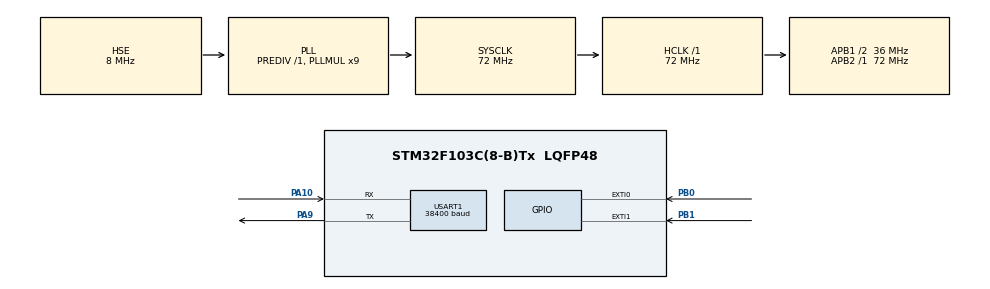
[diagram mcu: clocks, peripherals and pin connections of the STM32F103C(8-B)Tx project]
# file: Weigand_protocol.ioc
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Mcu.Family=STM32F1
Mcu.Name=STM32F103C(8-B)Tx
Mcu.Package=LQFP48
NVIC.PriorityGroup=NVIC_PRIORITYGROUP_4
PA10.Mode=Asynchronous
PA10.Signal=USART1_RX
PA9.Mode=Asynchronous
PA9.Signal=USART1_TX
PB0.Signal=GPXTI0
PB1.Signal=GPXTI1
PD0-OSC_IN.Mode=HSE-External-Oscillator
PD0-OSC_IN.Signal=RCC_OSC_IN
PD1-OSC_OUT.Mode=HSE-External-Oscillator
PD1-OSC_OUT.Signal=RCC_OSC_OUT
ProjectManager.HeapSize=0x200
ProjectManager.StackSize=0x400
ProjectManager.TargetToolchain=STM32CubeIDE
RCC.AHBFreq_Value=72000000
RCC.APB1CLKDivider=RCC_HCLK_DIV2
RCC.APB1Freq_Value=36000000
RCC.APB1TimFreq_Value=72000000
RCC.APB2Freq_Value=72000000
RCC.APB2TimFreq_Value=72000000
RCC.HCLKFreq_Value=72000000
RCC.PLLMUL=RCC_PLL_MUL9
RCC.PLLSourceVirtual=RCC_PLLSOURCE_HSE
RCC.SYSCLKFreq_VALUE=72000000
RCC.SYSCLKSource=RCC_SYSCLKSOURCE_PLLCLK
RCC.USBFreq_Value=72000000
USART1.BaudRate=38400
USART1.VirtualMode=VM_ASYNC
board=custom

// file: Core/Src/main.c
/* USER CODE BEGIN Header */
/**
  ******************************************************************************
  * @file           : main.c
  * @brief          : Main program body
  ******************************************************************************
  * @attention
  *
  * Copyright (c) 2023 STMicroelectronics.
  * All rights reserved.
  *
  * This software is licensed under terms that can be found in the LICENSE file
  * in the root directory of this software component.
  * If no LICENSE file comes with this software, it is provided AS-IS.
  *
  ******************************************************************************
  */
/* USER CODE END Header */
#include "main.h"

/* USER CODE BEGIN Includes */
#define DATA_BITS 26

volatile uint32_t weigandCode = 0;
volatile uint8_t bitCount = 0;

/* USER CODE END Includes */

UART_HandleTypeDef huart1;

void SystemClock_Config(void);
static void MX_GPIO_Init(void);
static void MX_USART1_UART_Init(void);
/* USER CODE BEGIN PFP */
void Mes2Usart1 (char *ptr);
void Mes2Usart1_crlf (char *ptr);
void crlf2usart1 (void);
void USART1_SendChar (char ch);
/* USER CODE END PFP */

/* USER CODE BEGIN 0 */
void Mes2Usart1 (char *ptr)
{
 while (*ptr)
 {
        USART1_SendChar (*ptr++);
  }
}

void Mes2Usart1_crlf (char *ptr)
{
  Mes2Usart1 (ptr);
  crlf2usart1 ();
}

void crlf2usart1 (void)
{
 Mes2Usart1 ("\r\n");
}
void USART1_SendChar (char ch)
{
//        while (transflg == 1) {}   // in case transmission is going on, wait till it gets over.
//        transflg = 1;
         USART1->DR = (uint16_t) (ch & 0x1ff);
        while (!(USART1->SR & UART_FLAG_TC));                // wait for character to be transmitted
//        transflg = 0;
}
/* USER CODE END 0 */

int main(void)
{

  /* MCU Configuration--------------------------------------------------------*/

  /* Reset of all peripherals, Initializes the Flash interface and the Systick. */
  HAL_Init();

  /* Configure the system clock */
  SystemClock_Config();

  /* Initialize all configured peripherals */
  MX_GPIO_Init();
  MX_USART1_UART_Init();

  /* Infinite loop */
  /* USER CODE BEGIN WHILE */
  while (1)
  {
	  Mes2Usart1 ("Weigand Protocol\r\n");
    /* USER CODE END WHILE */

  }
}

void SystemClock_Config(void)
{
  RCC_OscInitTypeDef RCC_OscInitStruct = {0};
  RCC_ClkInitTypeDef RCC_ClkInitStruct = {0};

  /** Initializes the RCC Oscillators according to the specified parameters
  * in the RCC_OscInitTypeDef structure.
  */
  RCC_OscInitStruct.OscillatorType = RCC_OSCILLATORTYPE_HSE;
  RCC_OscInitStruct.HSEState = RCC_HSE_ON;
  RCC_OscInitStruct.HSEPredivValue = RCC_HSE_PREDIV_DIV1;
  RCC_OscInitStruct.HSIState = RCC_HSI_ON;
  RCC_OscInitStruct.PLL.PLLState = RCC_PLL_ON;
  RCC_OscInitStruct.PLL.PLLSource = RCC_PLLSOURCE_HSE;
  RCC_OscInitStruct.PLL.PLLMUL = RCC_PLL_MUL9;
  if (HAL_RCC_OscConfig(&RCC_OscInitStruct) != HAL_OK)
  {
    Error_Handler();
  }

  /** Initializes the CPU, AHB and APB buses clocks
  */
  RCC_ClkInitStruct.ClockType = RCC_CLOCKTYPE_HCLK|RCC_CLOCKTYPE_SYSCLK
                              |RCC_CLOCKTYPE_PCLK1|RCC_CLOCKTYPE_PCLK2;
  RCC_ClkInitStruct.SYSCLKSource = RCC_SYSCLKSOURCE_PLLCLK;
  RCC_ClkInitStruct.AHBCLKDivider = RCC_SYSCLK_DIV1;
  RCC_ClkInitStruct.APB1CLKDivider = RCC_HCLK_DIV2;
  RCC_ClkInitStruct.APB2CLKDivider = RCC_HCLK_DIV1;

  if (HAL_RCC_ClockConfig(&RCC_ClkInitStruct, FLASH_LATENCY_2) != HAL_OK)
  {
    Error_Handler();
  }
}

static void MX_USART1_UART_Init(void)
{

  huart1.Instance = USART1;
  huart1.Init.BaudRate = 38400;
  huart1.Init.WordLength = UART_WORDLENGTH_8B;
  huart1.Init.StopBits = UART_STOPBITS_1;
  huart1.Init.Parity = UART_PARITY_NONE;
  huart1.Init.Mode = UART_MODE_TX_RX;
  huart1.Init.HwFlowCtl = UART_HWCONTROL_NONE;
  huart1.Init.OverSampling = UART_OVERSAMPLING_16;
  if (HAL_UART_Init(&huart1) != HAL_OK)
  {
    Error_Handler();
  }

}

static void MX_GPIO_Init(void)
{
  GPIO_InitTypeDef GPIO_InitStruct = {0};

  /* GPIO Ports Clock Enable */
  __HAL_RCC_GPIOD_CLK_ENABLE();
  __HAL_RCC_GPIOB_CLK_ENABLE();
  __HAL_RCC_GPIOA_CLK_ENABLE();

  /*Configure GPIO pins : PB0 PB1 */
  GPIO_InitStruct.Pin = GPIO_PIN_0|GPIO_PIN_1;
  GPIO_InitStruct.Mode = GPIO_MODE_IT_RISING;
  GPIO_InitStruct.Pull = GPIO_NOPULL;
  HAL_GPIO_Init(GPIOB, &GPIO_InitStruct);

/* USER CODE BEGIN MX_GPIO_Init_2 */

     HAL_NVIC_SetPriority(EXTI0_IRQn, 0, 0);
     HAL_NVIC_SetPriority(EXTI1_IRQn, 0, 0);
     HAL_NVIC_EnableIRQ(EXTI0_IRQn);
     HAL_NVIC_EnableIRQ(EXTI1_IRQn);
/* USER CODE END MX_GPIO_Init_2 */
}

/* USER CODE BEGIN 4 */
void EXTI0_IRQHandler()
{
    HAL_GPIO_EXTI_IRQHandler(GPIO_PIN_0);
}

void EXTI1_IRQHandler()
{
    HAL_GPIO_EXTI_IRQHandler(GPIO_PIN_1);
}

void HAL_GPIO_EXTI_Callback(uint16_t GPIO_Pin)
{
    if (GPIO_Pin == GPIO_PIN_0)
    {
        bitCount++;
        weigandCode <<= 1;
        weigandCode |= 0x01;
    }
    else if (GPIO_Pin == GPIO_PIN_1)
    {
        bitCount++;
        weigandCode <<= 1;
    }

    if (bitCount == DATA_BITS)
    {

    	 Mes2Usart1 ((char *)weigandCode);
    	 Mes2Usart1 ("\r\n");

        bitCount = 0;
        weigandCode = 0;
    }
}
/* USER CODE END 4 */

void Error_Handler(void)
{
  __disable_irq();
  while (1)
  {
  }
}
